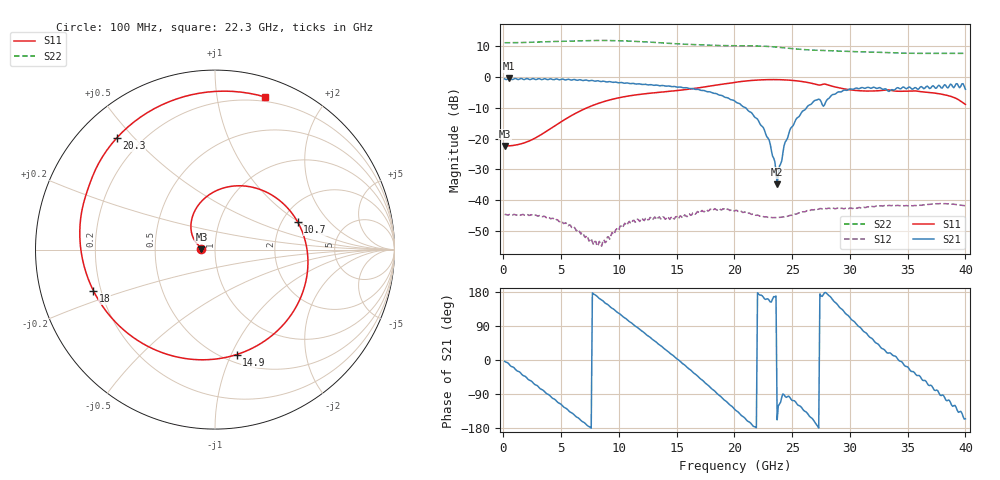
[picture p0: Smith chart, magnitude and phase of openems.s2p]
! BV_vna_rf_hblb1: LibreVNA RF_HBLB_PORT1, via F.Cu → In2.Cu with a 0.87 mm stub to B.Cu (CPWG feeds)
! stackup: VNA from the board file and its kisi.json
! ports: 1 in, 2 out
! openEMS 0.37.0, staircase, fine mesh (dfine 0.0175 mm), 5409600 cells
# Hz S RI R 50
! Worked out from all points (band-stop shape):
!   400 points, 100 MHz to 40 GHz, reference 50 ohm
!   highest |S21| = -0.50 dB at 500 MHz (marker M1); lowest = -34.8 dB at 23.7 GHz (marker M2)
!   |S21| within 3 dB of the highest: start of sweep to 15.55 GHz; 38.02 GHz to 38.46 GHz (446.4 MHz wide, 1.17 % of centre)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
!   lowest |S11| = -22.4 dB at 100 MHz (marker M3), VSWR 1.16, Z = 43 + j0.0763 ohm
!   |S11| at or under -10 dB: start of sweep to 7.245 GHz
!   |S22| runs from 7.6 to 11.8 dB; largest |S21 - S12| = 0.95
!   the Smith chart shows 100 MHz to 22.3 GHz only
!   S11 on the Smith chart (normalised r, x): 100 MHz: 0.86, +0.00; 10.7 GHz: 2.44, +0.97; 14.9 GHz: 0.58, -1.05; 18 GHz: 0.17, -0.16; 20.3 GHz: 0.11, +0.45; 22.3 GHz: 0.16, +1.37
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1e8  -0.0757 0.000883  0.9294 -0.057  -0.00583 6.1e-05  3.577 0.0115
5e8  -0.0762 0.00411  0.9249 -0.189  -0.00588 -7.55e-05  3.579 0.0591
3.6e9  -0.1151 0.0532  0.082 -0.9305  -0.00522 -0.00155  3.676 0.5167
6.8e9  -0.0608 0.2833  -0.8373 -0.2749  -0.00281 -0.000926  3.662 1.183
8.5e9  0.1557 0.355  -0.7849 0.306  -0.0017 0.00061  3.546 1.616
1.07e10  0.4613 0.1524  -0.2285 0.7647  -0.00307 0.00247  3.197 2.096
1.34e10  0.4135 -0.3783  0.538 0.4916  -0.00448 0.00269  2.645 2.428
1.49e10  0.1204 -0.5847  0.6905 0.0715  -0.00459 0.00282  2.378 2.495
1.8e10  -0.6773 -0.2295  0.1453 -0.542  -0.00652 0.00277  1.962 2.603
2.01e10  -0.6021 0.5542  -0.2674 -0.2912  -0.00666 0.00163  1.737 2.677
2.03e10  -0.5478 0.6217  -0.274 -0.2577  -0.00649 0.00124  1.717 2.687
2.23e10  0.2798 0.8505  -0.1618 0.0254  -0.0054 0.00119  1.419 2.824
2.37e10  0.7808 0.4538  -0.0168 -0.00679  -0.00491 0.00185  1.143 2.81
2.48e10  0.8825 -0.0505  -0.0207 -0.1358  -0.00504 0.00262  0.9769 2.726
2.67e10  0.3391 -0.7093  -0.3313 -0.1654  -0.00624 0.00327  0.8306 2.593
2.79e10  -0.1939 -0.7348  -0.3893 0.0132  -0.00675 0.00288  0.7607 2.552
2.97e10  -0.6231 -0.091  -0.3065 0.5211  -0.00697 0.00266  0.664 2.498
3.15e10  -0.3488 0.4758  0.252 0.6277  -0.00728 0.00287  0.5678 2.475
3.34e10  0.2557 0.5575  0.5511 0.188  -0.00788 0.00253  0.4606 2.422
3.56e10  0.5906 0.0537  0.5565 -0.3701  -0.00792 0.00224  0.3982 2.378
3.77e10  0.3199 -0.4283  0.0459 -0.7311  -0.00857 0.0019  0.3275 2.384
4e10  -0.1512 -0.3251  -0.5723 -0.264  -0.00809 0.000839  0.218 2.399
